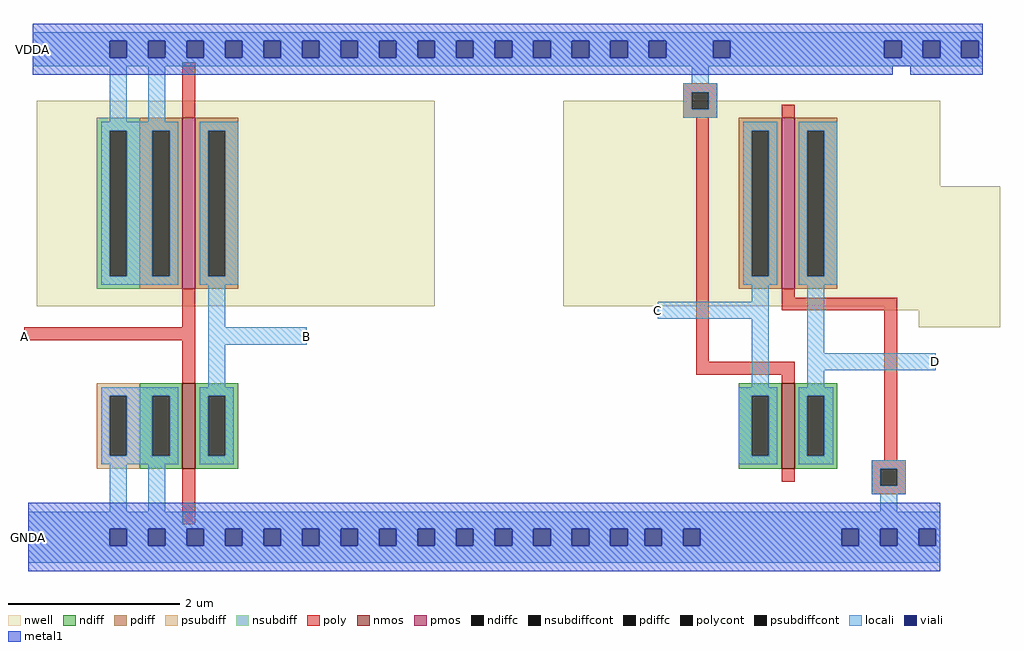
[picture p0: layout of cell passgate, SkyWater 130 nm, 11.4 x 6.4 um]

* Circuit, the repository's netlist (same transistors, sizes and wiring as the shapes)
* NGSPICE file created from passgate.ext - technology: sky130A

.subckt passgate
X0 B A GNDA GNDA sky130_fd_pr__nfet_01v8 ad=0.5 pd=3 as=0.5 ps=3 w=1 l=0.15
X1 D VDDA C GNDA sky130_fd_pr__nfet_01v8 ad=0.5 pd=3 as=0.5 ps=3 w=1 l=0.15
X2 B A VDDA VDDA sky130_fd_pr__pfet_01v8 ad=1 pd=5 as=1 ps=5 w=2 l=0.15
X3 D GNDA C w_890_380# sky130_fd_pr__pfet_01v8 ad=1 pd=5 as=1 ps=5 w=2 l=0.15
.ends

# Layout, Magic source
magic
tech sky130A
<< nwell >>
rect -170 190 295 430
rect 445 330 885 430
rect 445 190 955 330
rect 820 185 955 190
rect 860 165 955 185
<< nmos >>
rect 0 0 15 100
rect 700 0 715 100
<< pmos >>
rect 0 210 15 410
rect 700 210 715 410
<< ndiff >>
rect -50 85 0 100
rect -50 15 -35 85
rect -15 15 0 85
rect -50 0 0 15
rect 15 85 65 100
rect 15 15 30 85
rect 50 15 65 85
rect 15 0 65 15
rect 650 85 700 100
rect 650 15 665 85
rect 685 15 700 85
rect 650 0 700 15
rect 715 85 765 100
rect 715 15 730 85
rect 750 15 765 85
rect 715 0 765 15
<< pdiff >>
rect -50 395 0 410
rect -50 225 -35 395
rect -15 225 0 395
rect -50 210 0 225
rect 15 395 65 410
rect 15 225 30 395
rect 50 225 65 395
rect 15 210 65 225
rect 650 395 700 410
rect 650 225 665 395
rect 685 225 700 395
rect 650 210 700 225
rect 715 395 765 410
rect 715 225 730 395
rect 750 225 765 395
rect 715 210 765 225
<< ndiffc >>
rect -35 15 -15 85
rect 30 15 50 85
rect 665 15 685 85
rect 730 15 750 85
<< pdiffc >>
rect -35 225 -15 395
rect 30 225 50 395
rect 665 225 685 395
rect 730 225 750 395
<< psubdiff >>
rect -100 85 -50 100
rect -100 15 -85 85
rect -65 15 -50 85
rect -100 0 -50 15
<< nsubdiff >>
rect -100 395 -50 410
rect -100 225 -85 395
rect -65 225 -50 395
rect -100 210 -50 225
<< psubdiffcont >>
rect -85 15 -65 85
<< nsubdiffcont >>
rect -85 225 -65 395
<< poly >>
rect 0 410 15 475
rect 585 440 625 450
rect 585 420 595 440
rect 615 420 625 440
rect 585 410 625 420
rect 700 410 715 425
rect 0 165 15 210
rect -185 150 15 165
rect 0 100 15 150
rect 600 125 615 410
rect 700 200 715 210
rect 700 185 835 200
rect 600 110 715 125
rect 700 100 715 110
rect 820 10 835 185
rect 805 0 845 10
rect 0 -65 15 0
rect 700 -15 715 0
rect 805 -20 815 0
rect 835 -20 845 0
rect 805 -30 845 -20
<< polycont >>
rect 595 420 615 440
rect 815 -20 835 0
<< locali >>
rect -175 500 935 510
rect -175 480 -85 500
rect -65 480 -40 500
rect -20 480 5 500
rect 25 480 50 500
rect 70 480 95 500
rect 115 480 140 500
rect 160 480 185 500
rect 205 480 230 500
rect 250 480 275 500
rect 295 480 320 500
rect 340 480 365 500
rect 385 480 410 500
rect 430 480 455 500
rect 475 480 500 500
rect 520 480 545 500
rect 565 480 620 500
rect 640 480 820 500
rect 840 480 865 500
rect 885 480 910 500
rect 930 480 935 500
rect -175 470 935 480
rect -85 405 -65 470
rect -40 405 -20 470
rect 595 450 615 470
rect 585 440 625 450
rect 585 420 595 440
rect 615 420 625 440
rect 585 410 625 420
rect -95 395 -5 405
rect -95 225 -85 395
rect -65 225 -35 395
rect -15 225 -5 395
rect -95 215 -5 225
rect 20 395 65 405
rect 20 225 30 395
rect 50 225 65 395
rect 20 215 65 225
rect 655 395 695 405
rect 655 225 665 395
rect 685 225 695 395
rect 655 215 695 225
rect 720 395 765 405
rect 720 225 730 395
rect 750 225 765 395
rect 720 215 765 225
rect 30 165 50 215
rect 665 195 685 215
rect 555 175 685 195
rect 30 145 145 165
rect 30 95 50 145
rect 665 95 685 175
rect 730 135 750 215
rect 730 115 880 135
rect 730 95 750 115
rect -95 85 -5 95
rect -95 15 -85 85
rect -65 15 -35 85
rect -15 15 -5 85
rect -95 5 -5 15
rect 20 85 60 95
rect 20 15 30 85
rect 50 15 60 85
rect 20 5 60 15
rect 650 85 695 95
rect 650 15 665 85
rect 685 15 695 85
rect 650 5 695 15
rect 720 85 760 95
rect 720 15 730 85
rect 750 15 760 85
rect 720 5 760 15
rect -85 -50 -65 5
rect -40 -50 -20 5
rect 805 0 845 10
rect 805 -20 815 0
rect 835 -20 845 0
rect 805 -30 845 -20
rect 815 -50 835 -30
rect -180 -70 885 -50
rect -180 -90 -85 -70
rect -65 -90 -40 -70
rect -20 -90 5 -70
rect 25 -90 50 -70
rect 70 -90 95 -70
rect 115 -90 140 -70
rect 160 -90 185 -70
rect 205 -90 230 -70
rect 250 -90 275 -70
rect 295 -90 320 -70
rect 340 -90 365 -70
rect 385 -90 410 -70
rect 430 -90 455 -70
rect 475 -90 500 -70
rect 520 -90 540 -70
rect 560 -90 585 -70
rect 605 -90 770 -70
rect 790 -90 815 -70
rect 835 -90 860 -70
rect 880 -90 885 -70
rect -180 -110 885 -90
<< viali >>
rect -85 480 -65 500
rect -40 480 -20 500
rect 5 480 25 500
rect 50 480 70 500
rect 95 480 115 500
rect 140 480 160 500
rect 185 480 205 500
rect 230 480 250 500
rect 275 480 295 500
rect 320 480 340 500
rect 365 480 385 500
rect 410 480 430 500
rect 455 480 475 500
rect 500 480 520 500
rect 545 480 565 500
rect 620 480 640 500
rect 820 480 840 500
rect 865 480 885 500
rect 910 480 930 500
rect -85 -90 -65 -70
rect -40 -90 -20 -70
rect 5 -90 25 -70
rect 50 -90 70 -70
rect 95 -90 115 -70
rect 140 -90 160 -70
rect 185 -90 205 -70
rect 230 -90 250 -70
rect 275 -90 295 -70
rect 320 -90 340 -70
rect 365 -90 385 -70
rect 410 -90 430 -70
rect 455 -90 475 -70
rect 500 -90 520 -70
rect 540 -90 560 -70
rect 585 -90 605 -70
rect 770 -90 790 -70
rect 815 -90 835 -70
rect 860 -90 880 -70
<< metal1 >>
rect -175 500 935 520
rect -175 480 -85 500
rect -65 480 -40 500
rect -20 480 5 500
rect 25 480 50 500
rect 70 480 95 500
rect 115 480 140 500
rect 160 480 185 500
rect 205 480 230 500
rect 250 480 275 500
rect 295 480 320 500
rect 340 480 365 500
rect 385 480 410 500
rect 430 480 455 500
rect 475 480 500 500
rect 520 480 545 500
rect 565 480 620 500
rect 640 480 820 500
rect 840 480 865 500
rect 885 480 910 500
rect 930 480 935 500
rect -175 470 935 480
rect -175 460 830 470
rect 850 460 935 470
rect -180 -70 885 -40
rect -180 -90 -85 -70
rect -65 -90 -40 -70
rect -20 -90 5 -70
rect 25 -90 50 -70
rect 70 -90 95 -70
rect 115 -90 140 -70
rect 160 -90 185 -70
rect 205 -90 230 -70
rect 250 -90 275 -70
rect 295 -90 320 -70
rect 340 -90 365 -70
rect 385 -90 410 -70
rect 430 -90 455 -70
rect 475 -90 500 -70
rect 520 -90 540 -70
rect 560 -90 585 -70
rect 605 -90 770 -70
rect 790 -90 815 -70
rect 835 -90 860 -70
rect 880 -90 885 -70
rect -180 -120 885 -90
<< labels >>
flabel locali 880 125 880 125 3 FreeSans 400 0 80 0 D
flabel locali 145 155 145 155 3 FreeSans 400 0 80 0 B
flabel poly -185 155 -185 155 7 FreeSans 400 0 -80 0 A
flabel metal1 -180 -80 -180 -80 7 FreeSans 400 0 -80 0 GNDA
flabel metal1 -175 490 -175 490 7 FreeSans 400 0 -80 0 VDDA
flabel locali 555 185 555 185 7 FreeSans 400 0 -200 0 C
<< end >>
